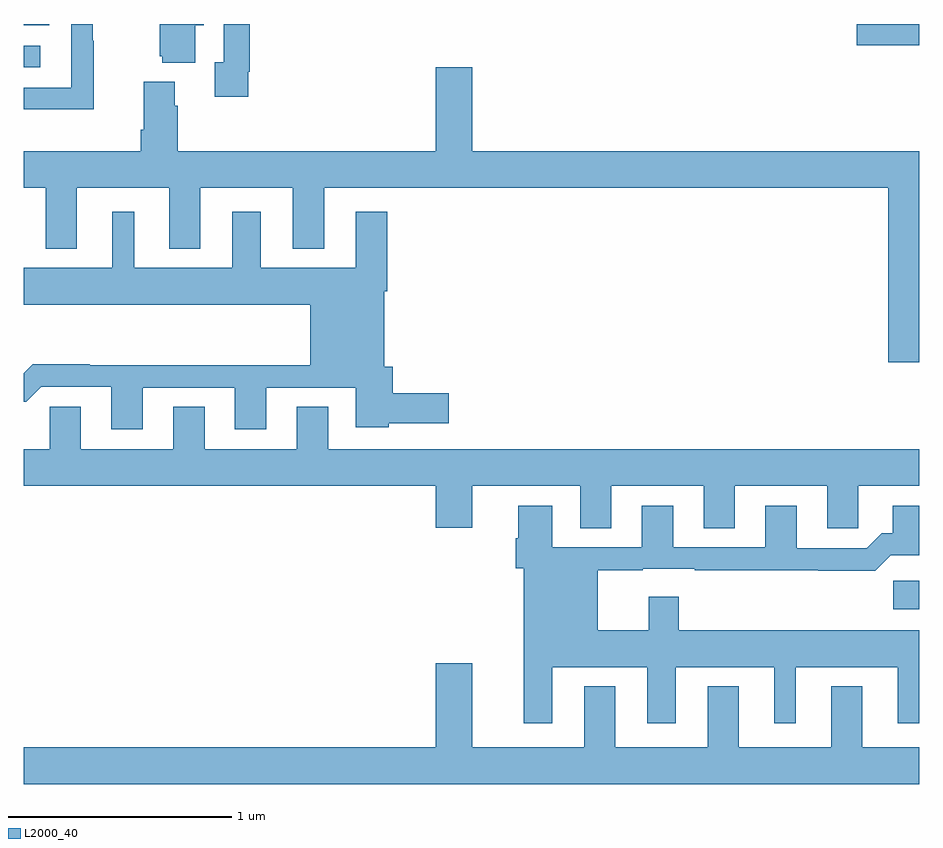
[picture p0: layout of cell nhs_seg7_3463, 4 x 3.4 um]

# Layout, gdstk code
import gdstk
lib = gdstk.Library(unit=1e-6, precision=1e-09)
def R(c, l, rs):  # rectangles x0, y0, x1, y1
    for r in rs: c.add(gdstk.rectangle(r[:2], r[2:], *l))
def P(c, l, *ps):  # polygons
    for p in ps: c.add(gdstk.Polygon(p, *l))
L2000_40 = (2000, 40)

nhs_seg7_3463 = lib.new_cell('nhs_seg7_3463')
R(nhs_seg7_3463, L2000_40, [(334.884,1013.384,335,1013.513), (331,1015.806,331.072,1015.902), (334.722,1015.906,335,1016), (331,1015.994,331.114,1016)])
P(nhs_seg7_3463, L2000_40, [(331.765,1015.994),(331.804,1015.994),(331.804,1016),(331.607,1016),(331.607,1015.857),(331.619,1015.857),(331.619,1015.826),(331.765,1015.826)],
  [(332.002,1015.786),(332.009,1015.786),(332.009,1016),(331.893,1016),(331.893,1015.83),(331.853,1015.83),(331.853,1015.674),(332.002,1015.674)],
  [(331.311,1015.925),(331.308,1015.925),(331.308,1016),(331.212,1016),(331.212,1015.97),(331.211,1015.97),(331.211,1015.716),(331,1015.716),(331,1015.619),(331.311,1015.619)],
  [(335,1015.432),(333.004,1015.432),(333.004,1015.807),(332.84,1015.807),(332.84,1015.432),(331.688,1015.432),(331.688,1015.634),(331.675,1015.634),(331.675,1015.741),(331.535,1015.741),(331.535,1015.528),(331.523,1015.528),(331.523,1015.432),(331,1015.432),(331,1015.268),(331.097,1015.268),(331.097,1014.995),(331.237,1014.995),(331.237,1015.268),(331.649,1015.268),(331.649,1014.995),(331.789,1014.995),(331.789,1015.268),(332.201,1015.268),(332.201,1014.995),(332.341,1014.995),(332.341,1015.268),(334.862,1015.268),(334.862,1014.489),(335,1014.489)],
  [(331.531,1014.375),(331.943,1014.375),(331.943,1014.189),(332.083,1014.189),(332.083,1014.375),(332.483,1014.375),(332.483,1014.197),(332.631,1014.197),(332.631,1014.215),(332.899,1014.215),(332.899,1014.35),(332.648,1014.35),(332.648,1014.468),(332.611,1014.468),(332.611,1014.806),(332.624,1014.806),(332.624,1015.162),(332.483,1015.162),(332.483,1014.91),(332.059,1014.91),(332.059,1015.162),(331.931,1015.162),(331.931,1014.91),(331.492,1014.91),(331.492,1015.162),(331.394,1015.162),(331.394,1014.91),(331,1014.91),(331,1014.746),(332.279,1014.746),(332.279,1014.476),(331.295,1014.476),(331.295,1014.479),(331.04,1014.479),(331,1014.439),(331,1014.311),(331.01,1014.311),(331.077,1014.378),(331.391,1014.378),(331.391,1014.189),(331.531,1014.189)],
  [(332.359,1014.29),(332.219,1014.29),(332.219,1014.1),(331.807,1014.1),(331.807,1014.29),(331.667,1014.29),(331.667,1014.1),(331.255,1014.1),(331.255,1014.29),(331.116,1014.29),(331.116,1014.1),(331,1014.1),(331,1013.936),(332.84,1013.936),(332.84,1013.748),(333.004,1013.748),(333.004,1013.936),(333.485,1013.936),(333.485,1013.746),(333.625,1013.746),(333.625,1013.936),(334.037,1013.936),(334.037,1013.746),(334.177,1013.746),(334.177,1013.936),(334.589,1013.936),(334.589,1013.746),(334.728,1013.746),(334.728,1013.936),(335,1013.936),(335,1014.1),(332.359,1014.1)],
  [(333.361,1013.126),(333.785,1013.126),(333.785,1012.875),(333.913,1012.875),(333.913,1013.126),(334.352,1013.126),(334.352,1012.875),(334.45,1012.875),(334.45,1013.126),(334.904,1013.126),(334.904,1012.875),(335,1012.875),(335,1013.29),(333.926,1013.29),(333.926,1013.44),(333.791,1013.44),(333.791,1013.29),(333.565,1013.29),(333.565,1013.56),(333.765,1013.56),(333.765,1013.565),(333.997,1013.565),(333.997,1013.56),(334.549,1013.56),(334.549,1013.558),(334.805,1013.558),(334.874,1013.627),(335,1013.627),(335,1013.848),(334.883,1013.848),(334.883,1013.725),(334.834,1013.725),(334.767,1013.658),(334.453,1013.658),(334.453,1013.848),(334.313,1013.848),(334.313,1013.661),(333.901,1013.661),(333.901,1013.848),(333.761,1013.848),(333.761,1013.661),(333.361,1013.661),(333.361,1013.848),(333.209,1013.848),(333.209,1013.702),(333.197,1013.702),(333.197,1013.568),(333.233,1013.568),(333.233,1012.875),(333.361,1012.875)],
  [(335,1012.768),(334.747,1012.768),(334.747,1013.041),(334.607,1013.041),(334.607,1012.768),(334.195,1012.768),(334.195,1013.041),(334.055,1013.041),(334.055,1012.768),(333.643,1012.768),(333.643,1013.041),(333.503,1013.041),(333.503,1012.768),(333.004,1012.768),(333.004,1013.143),(332.84,1013.143),(332.84,1012.768),(331,1012.768),(331,1012.604),(335,1012.604)])

lib.write_gds('nhs_seg7_3463.gds')
